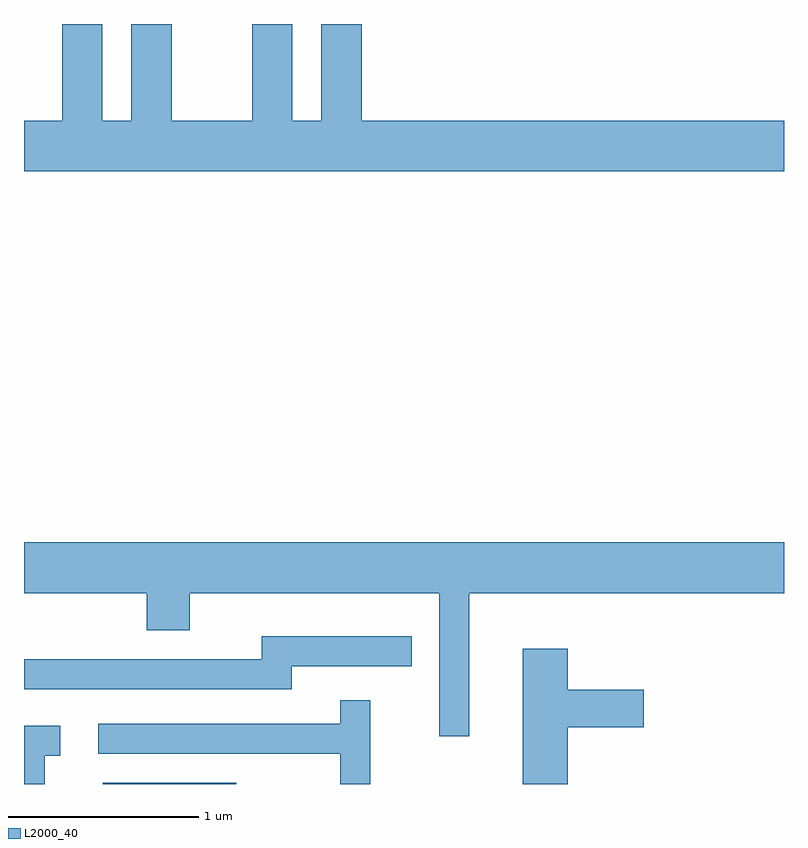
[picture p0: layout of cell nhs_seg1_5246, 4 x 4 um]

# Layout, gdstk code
import gdstk
lib = gdstk.Library(unit=1e-6, precision=1e-09)
def R(c, l, rs):  # rectangles x0, y0, x1, y1
    for r in rs: c.add(gdstk.rectangle(r[:2], r[2:], *l))
def P(c, l, *ps):  # polygons
    for p in ps: c.add(gdstk.Polygon(p, *l))
L2000_40 = (2000, 40)

nhs_seg1_5246 = lib.new_cell('nhs_seg1_5246')
R(nhs_seg1_5246, L2000_40, [(344.026,869.712,344.728,869.719)])
P(nhs_seg1_5246, L2000_40, [(347.611,873.204),(345.389,873.204),(345.389,873.712),(345.176,873.712),(345.176,873.204),(345.024,873.204),(345.024,873.712),(344.811,873.712),(344.811,873.204),(344.389,873.204),(344.389,873.712),(344.176,873.712),(344.176,873.204),(344.024,873.204),(344.024,873.712),(343.811,873.712),(343.811,873.204),(343.611,873.204),(343.611,872.936),(347.611,872.936)],
  [(345.954,870.716),(347.611,870.716),(347.611,870.984),(343.611,870.984),(343.611,870.716),(344.256,870.716),(344.256,870.521),(344.484,870.521),(344.484,870.716),(345.796,870.716),(345.796,869.963),(345.954,869.963)],
  [(345.019,870.331),(345.653,870.331),(345.653,870.489),(344.861,870.489),(344.861,870.369),(343.611,870.369),(343.611,870.211),(345.019,870.211)],
  [(346.474,870.011),(346.874,870.011),(346.874,870.209),(346.474,870.209),(346.474,870.424),(346.236,870.424),(346.236,869.712),(346.474,869.712)],
  [(345.434,870.153),(345.276,870.153),(345.276,870.029),(344.003,870.029),(344.003,869.871),(345.276,869.871),(345.276,869.712),(345.434,869.712)],
  [(343.719,869.861),(343.803,869.861),(343.803,870.019),(343.611,870.019),(343.611,869.712),(343.719,869.712)])

lib.write_gds('nhs_seg1_5246.gds')
